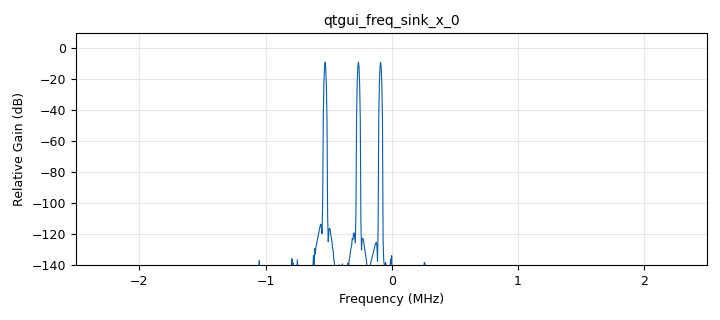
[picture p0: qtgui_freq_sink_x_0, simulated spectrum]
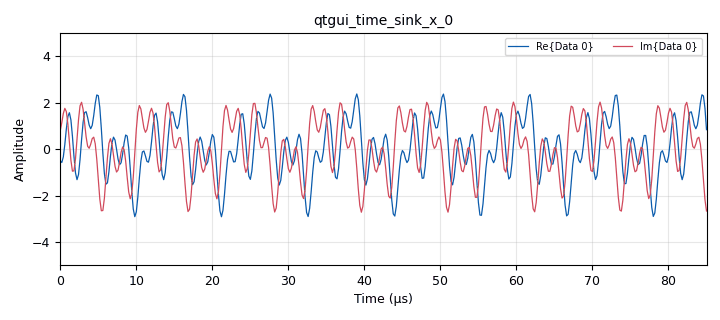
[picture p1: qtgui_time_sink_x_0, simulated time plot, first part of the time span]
options:
  parameters:
    author: vamseekrishnatunuguntla
    generate_options: qt_gui
    id: FMCW
    output_language: python
    title: FMCW Radar Test
  states: {}

blocks:
- name: samp_rate
  id: variable
  parameters:
    value: '5000000'
  states: {}
- name: analog_sig_source_x_0
  id: analog_sig_source_x
  parameters:
    amp: '10'
    freq: '2'
    offset: '0'
    phase: '0'
    samp_rate: samp_rate
    type: float
    waveform: analog.GR_TRI_WAVE
  states: {}
- name: blocks_add_xx_0
  id: blocks_add_xx
  parameters:
    num_inputs: '3'
    type: complex
  states: {}
- name: blocks_delay_0
  id: blocks_delay
  parameters:
    delay: '500'
    type: complex
  states: {}
- name: blocks_delay_0_0
  id: blocks_delay
  parameters:
    delay: '1500'
    type: complex
  states: {}
- name: blocks_delay_0_1
  id: blocks_delay
  parameters:
    delay: '3000'
    type: complex
  states: {}
- name: blocks_file_sink_0
  id: blocks_file_sink
  parameters:
    file: test_mult.bin
    type: complex
  states: {}
- name: blocks_file_sink_0_0
  id: blocks_file_sink
  parameters:
    file: test_saw.bin
    type: float
  states: {}
- name: blocks_head_0
  id: blocks_head
  parameters:
    num_items: '20000000'
    type: complex
  states: {}
- name: blocks_head_0_0
  id: blocks_head
  parameters:
    num_items: '20000000'
    type: float
  states: {}
- name: blocks_multiply_conjugate_cc_0
  id: blocks_multiply_conjugate_cc
  parameters: {}
  states: {}
- name: blocks_skiphead_0
  id: blocks_skiphead
  parameters:
    num_items: '524288'
    type: complex
  states: {}
- name: blocks_skiphead_0_0
  id: blocks_skiphead
  parameters:
    num_items: '524288'
    type: float
  states: {}
- name: blocks_vco_c_0
  id: blocks_vco_c
  parameters:
    amplitude: '1'
    samp_rate: samp_rate
    sensitivity: '628318'
  states: {}
- name: qtgui_freq_sink_x_0
  id: qtgui_freq_sink_x
  parameters:
    bw: samp_rate
    fc: '0'
    fftsize: '1024'
    type: complex
  states: {}
- name: qtgui_time_sink_x_0
  id: qtgui_time_sink_x
  parameters:
    size: '1024'
    srate: samp_rate
    type: complex
    ymax: '5'
    ymin: '-5'
  states: {}
- name: rational_resampler_xxx_0
  id: rational_resampler_xxx
  parameters:
    decim: '220'
    interp: '1'
    type: ccc
  states: {}

connections:
- [analog_sig_source_x_0, '0', blocks_skiphead_0_0, '0']
- [analog_sig_source_x_0, '0', blocks_vco_c_0, '0']
- [blocks_add_xx_0, '0', blocks_multiply_conjugate_cc_0, '1']
- [blocks_delay_0, '0', blocks_add_xx_0, '0']
- [blocks_delay_0_0, '0', blocks_add_xx_0, '1']
- [blocks_delay_0_1, '0', blocks_add_xx_0, '2']
- [blocks_head_0, '0', blocks_delay_0, '0']
- [blocks_head_0, '0', blocks_delay_0_0, '0']
- [blocks_head_0, '0', blocks_delay_0_1, '0']
- [blocks_head_0, '0', blocks_multiply_conjugate_cc_0, '0']
- [blocks_head_0_0, '0', blocks_file_sink_0_0, '0']
- [blocks_multiply_conjugate_cc_0, '0', rational_resampler_xxx_0, '0']
- [blocks_skiphead_0, '0', blocks_head_0, '0']
- [blocks_skiphead_0_0, '0', blocks_head_0_0, '0']
- [blocks_vco_c_0, '0', blocks_skiphead_0, '0']
- [rational_resampler_xxx_0, '0', blocks_file_sink_0, '0']
- [rational_resampler_xxx_0, '0', qtgui_freq_sink_x_0, '0']
- [rational_resampler_xxx_0, '0', qtgui_time_sink_x_0, '0']

metadata:
  file_format: 1
  grc_version: 3.10.5.1
